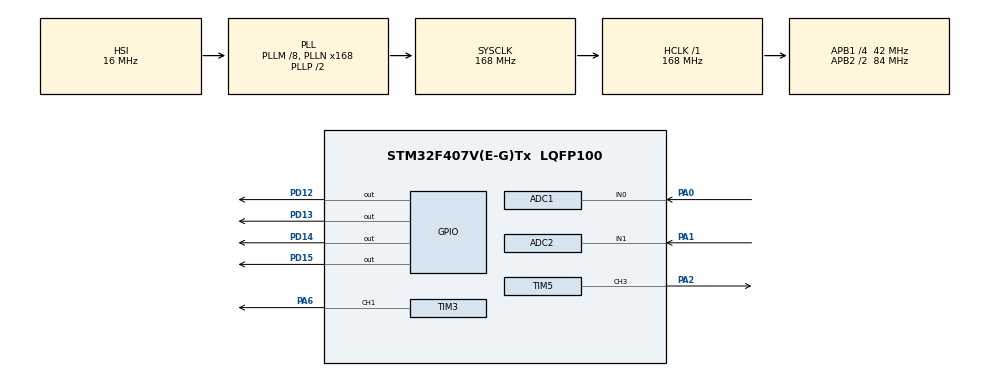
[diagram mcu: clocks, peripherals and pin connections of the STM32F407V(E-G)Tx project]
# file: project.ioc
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ADC1.Channel-0\#ChannelRegularConversion=ADC_CHANNEL_0
ADC1.ClockPrescaler=ADC_CLOCK_SYNC_PCLK_DIV4
ADC1.NbrOfConversionFlag=1
ADC1.Rank-0\#ChannelRegularConversion=1
ADC1.SamplingTime-0\#ChannelRegularConversion=ADC_SAMPLETIME_480CYCLES
ADC1.master=1
ADC2.Channel-1\#ChannelRegularConversion=ADC_CHANNEL_1
ADC2.NbrOfConversionFlag=1
ADC2.Rank-1\#ChannelRegularConversion=1
ADC2.SamplingTime-1\#ChannelRegularConversion=ADC_SAMPLETIME_480CYCLES
Mcu.Family=STM32F4
Mcu.Name=STM32F407V(E-G)Tx
Mcu.Package=LQFP100
NVIC.PriorityGroup=NVIC_PRIORITYGROUP_4
PA0-WKUP.Signal=ADCx_IN0
PA1.Signal=ADCx_IN1
PA2.Signal=S_TIM5_CH3
PA6.Signal=S_TIM3_CH1
PD12.Signal=GPIO_Output
PD13.Signal=GPIO_Output
PD14.Signal=GPIO_Output
PD15.Signal=GPIO_Output
PH0-OSC_IN.Mode=HSE-External-Oscillator
PH0-OSC_IN.Signal=RCC_OSC_IN
PH1-OSC_OUT.Mode=HSE-External-Oscillator
PH1-OSC_OUT.Signal=RCC_OSC_OUT
ProjectManager.HeapSize=0x200
ProjectManager.StackSize=0x400
ProjectManager.TargetToolchain=STM32CubeIDE
RCC.48MHZClocksFreq_Value=84000000
RCC.AHBFreq_Value=168000000
RCC.APB1CLKDivider=RCC_HCLK_DIV4
RCC.APB1Freq_Value=42000000
RCC.APB1TimFreq_Value=84000000
RCC.APB2CLKDivider=RCC_HCLK_DIV2
RCC.APB2Freq_Value=84000000
RCC.APB2TimFreq_Value=168000000
RCC.CortexFreq_Value=168000000
RCC.HCLKFreq_Value=168000000
RCC.HSE_VALUE=8000000
RCC.HSI_VALUE=16000000
RCC.LSE_VALUE=32768
RCC.PLLM=8
RCC.PLLN=168
RCC.SYSCLKFreq_VALUE=168000000
RCC.SYSCLKSource=RCC_SYSCLKSOURCE_PLLCLK
RCC.VCOOutputFreq_Value=336000000
RCC.VDD_VALUE=3.3
SH.ADCx_IN0.0=ADC1_IN0,IN0
SH.ADCx_IN1.0=ADC2_IN1,IN1
SH.S_TIM3_CH1.0=TIM3_CH1,PWM Generation1 CH1
SH.S_TIM5_CH3.0=TIM5_CH3,PWM Generation3 CH3
TIM3.AutoReloadPreload=TIM_AUTORELOAD_PRELOAD_ENABLE
TIM3.Channel-PWM\ Generation1\ CH1=TIM_CHANNEL_1
TIM3.Period=100-1
TIM3.Prescaler=25000-1
TIM3.Pulse-PWM\ Generation1\ CH1=60-1
TIM5.AutoReloadPreload=TIM_AUTORELOAD_PRELOAD_ENABLE
TIM5.Channel-PWM\ Generation3\ CH3=TIM_CHANNEL_3
TIM5.OC3Preload_PWM=ENABLE
TIM5.Period=100-1
TIM5.Prescaler=25000-1
TIM5.Pulse-PWM\ Generation3\ CH3=40-1
board=custom

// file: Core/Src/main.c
/* USER CODE BEGIN Header */
/**
  ******************************************************************************
  * @file           : main.c
  * @brief          : Main program body
  ******************************************************************************
  * @attention
  *
  * Copyright (c) 2023 STMicroelectronics.
  * All rights reserved.
  *
  * This software is licensed under terms that can be found in the LICENSE file
  * in the root directory of this software component.
  * If no LICENSE file comes with this software, it is provided AS-IS.
  *
  ******************************************************************************
  */
/* USER CODE END Header */
#include "main.h"

/* USER CODE BEGIN Includes */

double av_adcread1;
double av_adcread2;
int adcread1=0;
int adcread2=0;
double pwm1;
double pwm2;

/* USER CODE END Includes */

ADC_HandleTypeDef hadc1;
ADC_HandleTypeDef hadc2;

TIM_HandleTypeDef htim3;
TIM_HandleTypeDef htim5;

void SystemClock_Config(void);
static void MX_GPIO_Init(void);
static void MX_ADC1_Init(void);
static void MX_ADC2_Init(void);
static void MX_TIM3_Init(void);
static void MX_TIM5_Init(void);

int main(void)
{

  /* MCU Configuration--------------------------------------------------------*/

  /* Reset of all peripherals, Initializes the Flash interface and the Systick. */
  HAL_Init();

  /* Configure the system clock */
  SystemClock_Config();

  /* Initialize all configured peripherals */
  MX_GPIO_Init();
  MX_ADC1_Init();
  MX_ADC2_Init();
  MX_TIM3_Init();
  MX_TIM5_Init();
  /* USER CODE BEGIN 2 */
HAL_TIM_PWM_Start(&htim3, TIM_CHANNEL_1);
HAL_TIM_PWM_Start(&htim5, TIM_CHANNEL_3);
HAL_ADC_Start(&hadc1);
HAL_ADC_Start(&hadc2);

double weight1=0.7;//weights of or gate
double weight2=0.3;
double bias=-0.2;

double sum1=0;
double sum2=0;
double sum=0.0;

int out;

  /* USER CODE END 2 */

  /* Infinite loop */
  /* USER CODE BEGIN WHILE */
  while (1)
  {

	  htim3.Instance->CCR1= weight1 * (htim3.Instance->ARR );
	  htim5.Instance->CCR3= weight2 * (htim5.Instance->ARR );

	  pwm1=htim3.Instance->CNT >= htim3.Instance->CCR1? 0 : 1;
	  pwm2=htim5.Instance->CNT >= htim5.Instance->CCR3? 0 : 1;
	        sum1=0;
  	  	  	sum2=0;

	  for(int i=0;i<1000;i++)//we are using this loop to take the average of adc reading
	  	  	  {
	  	  	   if(HAL_ADC_PollForConversion(&hadc1, 10)== HAL_OK)
	  	  	  {
	  	  		  adcread1=HAL_ADC_GetValue(&hadc1);

	  	  		  sum1+= adcread1;
	  	  		  HAL_ADC_Start(&hadc1);
	  	  	  }

	  	  	  if(HAL_ADC_PollForConversion(&hadc2, 10)== HAL_OK)
	  	  	  {
	  	  	      adcread2=HAL_ADC_GetValue(&hadc2);
	  	  	    sum2+= adcread2;
	  	  	      HAL_ADC_Start(&hadc2);
	  	  	  }

	  	  	 }
	  	   av_adcread1=sum1/1000.0;
	  	   av_adcread2=sum2/1000.0;

	  	 int inputs[4][2] =
	  	  	  {
	  	  			  { 0, 0 },
	  	  			  { 0, 1 },
	  	  			  { 1, 0 },
	  	  			  { 1, 1 }
	  	  	  };
	  	  	  uint16_t pins[] =
	  	  	  {
	  	  			  GPIO_PIN_12,
	  	  			  GPIO_PIN_13,
	  	  			  GPIO_PIN_14,
	  	  			  GPIO_PIN_15,
	  	  	  };

	  	  	  for (int i = 0; i < 4; i++)
	  	  	  {   sum=0;

	  	  		  sum += inputs[i][0] * (av_adcread1 / 4096.0);
	  	  		  sum += inputs[i][1] * (av_adcread2 / 4096.0);
	  	  		  sum+= bias;
	  	  	      out = sum >= 0 ? 1.0 : 0.0;
	  	  	      HAL_GPIO_WritePin(GPIOD, pins[i], out == 0 ? GPIO_PIN_RESET : GPIO_PIN_SET);

	  	  	  }

	  	  	  HAL_ADC_Start(&hadc1);
	  	  	  HAL_ADC_Start(&hadc2);

    /* USER CODE END WHILE */

  }
}

void SystemClock_Config(void)
{
  RCC_OscInitTypeDef RCC_OscInitStruct = {0};
  RCC_ClkInitTypeDef RCC_ClkInitStruct = {0};

  /** Configure the main internal regulator output voltage
  */
  __HAL_RCC_PWR_CLK_ENABLE();
  __HAL_PWR_VOLTAGESCALING_CONFIG(PWR_REGULATOR_VOLTAGE_SCALE1);

  /** Initializes the RCC Oscillators according to the specified parameters
  * in the RCC_OscInitTypeDef structure.
  */
  RCC_OscInitStruct.OscillatorType = RCC_OSCILLATORTYPE_HSI;
  RCC_OscInitStruct.HSIState = RCC_HSI_ON;
  RCC_OscInitStruct.HSICalibrationValue = RCC_HSICALIBRATION_DEFAULT;
  RCC_OscInitStruct.PLL.PLLState = RCC_PLL_ON;
  RCC_OscInitStruct.PLL.PLLSource = RCC_PLLSOURCE_HSI;
  RCC_OscInitStruct.PLL.PLLM = 8;
  RCC_OscInitStruct.PLL.PLLN = 168;
  RCC_OscInitStruct.PLL.PLLP = RCC_PLLP_DIV2;
  RCC_OscInitStruct.PLL.PLLQ = 4;
  if (HAL_RCC_OscConfig(&RCC_OscInitStruct) != HAL_OK)
  {
    Error_Handler();
  }

  /** Initializes the CPU, AHB and APB buses clocks
  */
  RCC_ClkInitStruct.ClockType = RCC_CLOCKTYPE_HCLK|RCC_CLOCKTYPE_SYSCLK
                              |RCC_CLOCKTYPE_PCLK1|RCC_CLOCKTYPE_PCLK2;
  RCC_ClkInitStruct.SYSCLKSource = RCC_SYSCLKSOURCE_PLLCLK;
  RCC_ClkInitStruct.AHBCLKDivider = RCC_SYSCLK_DIV1;
  RCC_ClkInitStruct.APB1CLKDivider = RCC_HCLK_DIV4;
  RCC_ClkInitStruct.APB2CLKDivider = RCC_HCLK_DIV2;

  if (HAL_RCC_ClockConfig(&RCC_ClkInitStruct, FLASH_LATENCY_5) != HAL_OK)
  {
    Error_Handler();
  }
}

static void MX_ADC1_Init(void)
{

  ADC_ChannelConfTypeDef sConfig = {0};

  /** Configure the global features of the ADC (Clock, Resolution, Data Alignment and number of conversion)
  */
  hadc1.Instance = ADC1;
  hadc1.Init.ClockPrescaler = ADC_CLOCK_SYNC_PCLK_DIV4;
  hadc1.Init.Resolution = ADC_RESOLUTION_12B;
  hadc1.Init.ScanConvMode = DISABLE;
  hadc1.Init.ContinuousConvMode = DISABLE;
  hadc1.Init.DiscontinuousConvMode = DISABLE;
  hadc1.Init.ExternalTrigConvEdge = ADC_EXTERNALTRIGCONVEDGE_NONE;
  hadc1.Init.ExternalTrigConv = ADC_SOFTWARE_START;
  hadc1.Init.DataAlign = ADC_DATAALIGN_RIGHT;
  hadc1.Init.NbrOfConversion = 1;
  hadc1.Init.DMAContinuousRequests = DISABLE;
  hadc1.Init.EOCSelection = ADC_EOC_SINGLE_CONV;
  if (HAL_ADC_Init(&hadc1) != HAL_OK)
  {
    Error_Handler();
  }

  /** Configure for the selected ADC regular channel its corresponding rank in the sequencer and its sample time.
  */
  sConfig.Channel = ADC_CHANNEL_0;
  sConfig.Rank = 1;
  sConfig.SamplingTime = ADC_SAMPLETIME_480CYCLES;
  if (HAL_ADC_ConfigChannel(&hadc1, &sConfig) != HAL_OK)
  {
    Error_Handler();
  }

}

static void MX_ADC2_Init(void)
{

  ADC_ChannelConfTypeDef sConfig = {0};

  /** Configure the global features of the ADC (Clock, Resolution, Data Alignment and number of conversion)
  */
  hadc2.Instance = ADC2;
  hadc2.Init.ClockPrescaler = ADC_CLOCK_SYNC_PCLK_DIV4;
  hadc2.Init.Resolution = ADC_RESOLUTION_12B;
  hadc2.Init.ScanConvMode = DISABLE;
  hadc2.Init.ContinuousConvMode = DISABLE;
  hadc2.Init.DiscontinuousConvMode = DISABLE;
  hadc2.Init.ExternalTrigConvEdge = ADC_EXTERNALTRIGCONVEDGE_NONE;
  hadc2.Init.ExternalTrigConv = ADC_SOFTWARE_START;
  hadc2.Init.DataAlign = ADC_DATAALIGN_RIGHT;
  hadc2.Init.NbrOfConversion = 1;
  hadc2.Init.DMAContinuousRequests = DISABLE;
  hadc2.Init.EOCSelection = ADC_EOC_SINGLE_CONV;
  if (HAL_ADC_Init(&hadc2) != HAL_OK)
  {
    Error_Handler();
  }

  /** Configure for the selected ADC regular channel its corresponding rank in the sequencer and its sample time.
  */
  sConfig.Channel = ADC_CHANNEL_1;
  sConfig.Rank = 1;
  sConfig.SamplingTime = ADC_SAMPLETIME_480CYCLES;
  if (HAL_ADC_ConfigChannel(&hadc2, &sConfig) != HAL_OK)
  {
    Error_Handler();
  }

}

static void MX_TIM3_Init(void)
{

  TIM_MasterConfigTypeDef sMasterConfig = {0};
  TIM_OC_InitTypeDef sConfigOC = {0};

  htim3.Instance = TIM3;
  htim3.Init.Prescaler = 25000-1;
  htim3.Init.CounterMode = TIM_COUNTERMODE_UP;
  htim3.Init.Period = 100-1;
  htim3.Init.ClockDivision = TIM_CLOCKDIVISION_DIV1;
  htim3.Init.AutoReloadPreload = TIM_AUTORELOAD_PRELOAD_ENABLE;
  if (HAL_TIM_PWM_Init(&htim3) != HAL_OK)
  {
    Error_Handler();
  }
  sMasterConfig.MasterOutputTrigger = TIM_TRGO_RESET;
  sMasterConfig.MasterSlaveMode = TIM_MASTERSLAVEMODE_DISABLE;
  if (HAL_TIMEx_MasterConfigSynchronization(&htim3, &sMasterConfig) != HAL_OK)
  {
    Error_Handler();
  }
  sConfigOC.OCMode = TIM_OCMODE_PWM1;
  sConfigOC.Pulse = 60-1;
  sConfigOC.OCPolarity = TIM_OCPOLARITY_HIGH;
  sConfigOC.OCFastMode = TIM_OCFAST_DISABLE;
  if (HAL_TIM_PWM_ConfigChannel(&htim3, &sConfigOC, TIM_CHANNEL_1) != HAL_OK)
  {
    Error_Handler();
  }
  HAL_TIM_MspPostInit(&htim3);

}

static void MX_TIM5_Init(void)
{

  TIM_MasterConfigTypeDef sMasterConfig = {0};
  TIM_OC_InitTypeDef sConfigOC = {0};

  htim5.Instance = TIM5;
  htim5.Init.Prescaler = 25000-1;
  htim5.Init.CounterMode = TIM_COUNTERMODE_UP;
  htim5.Init.Period = 100-1;
  htim5.Init.ClockDivision = TIM_CLOCKDIVISION_DIV1;
  htim5.Init.AutoReloadPreload = TIM_AUTORELOAD_PRELOAD_ENABLE;
  if (HAL_TIM_PWM_Init(&htim5) != HAL_OK)
  {
    Error_Handler();
  }
  sMasterConfig.MasterOutputTrigger = TIM_TRGO_RESET;
  sMasterConfig.MasterSlaveMode = TIM_MASTERSLAVEMODE_DISABLE;
  if (HAL_TIMEx_MasterConfigSynchronization(&htim5, &sMasterConfig) != HAL_OK)
  {
    Error_Handler();
  }
  sConfigOC.OCMode = TIM_OCMODE_PWM1;
  sConfigOC.Pulse = 40-1;
  sConfigOC.OCPolarity = TIM_OCPOLARITY_HIGH;
  sConfigOC.OCFastMode = TIM_OCFAST_DISABLE;
  if (HAL_TIM_PWM_ConfigChannel(&htim5, &sConfigOC, TIM_CHANNEL_3) != HAL_OK)
  {
    Error_Handler();
  }
  HAL_TIM_MspPostInit(&htim5);

}

static void MX_GPIO_Init(void)
{
  GPIO_InitTypeDef GPIO_InitStruct = {0};

  /* GPIO Ports Clock Enable */
  __HAL_RCC_GPIOH_CLK_ENABLE();
  __HAL_RCC_GPIOA_CLK_ENABLE();
  __HAL_RCC_GPIOD_CLK_ENABLE();

  /*Configure GPIO pin Output Level */
  HAL_GPIO_WritePin(GPIOD, GPIO_PIN_12|GPIO_PIN_13|GPIO_PIN_14|GPIO_PIN_15, GPIO_PIN_RESET);

  /*Configure GPIO pins : PD12 PD13 PD14 PD15 */
  GPIO_InitStruct.Pin = GPIO_PIN_12|GPIO_PIN_13|GPIO_PIN_14|GPIO_PIN_15;
  GPIO_InitStruct.Mode = GPIO_MODE_OUTPUT_PP;
  GPIO_InitStruct.Pull = GPIO_NOPULL;
  GPIO_InitStruct.Speed = GPIO_SPEED_FREQ_LOW;
  HAL_GPIO_Init(GPIOD, &GPIO_InitStruct);

}

void Error_Handler(void)
{
  __disable_irq();
  while (1)
  {
  }
}
